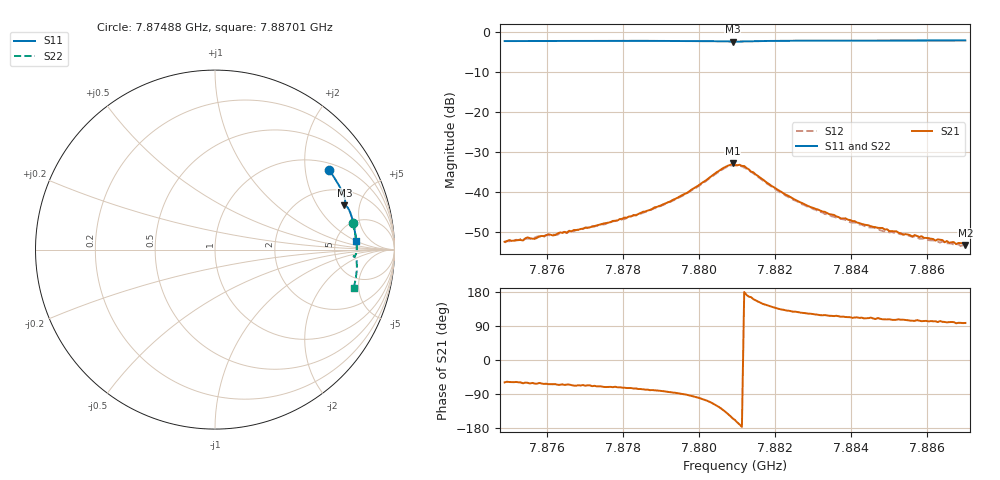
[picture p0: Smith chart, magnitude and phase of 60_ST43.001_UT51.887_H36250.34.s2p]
#  HZ  S  DB  R  50.00
! Rohde & Schwarz Vector Network Analyzer
! Rohde-Schwarz,ZNB20-2Port,1311601062101988,3.16
! Created: UTC 1/12/2023, 6:33:37 PM
! freq[Hz]  db:S11  ang:S11  db:S21  ang:S21  db:S12  ang:S12  db:S22  ang:S22
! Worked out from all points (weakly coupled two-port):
!   201 points, 7.87488 GHz to 7.88701 GHz, reference 50 ohm
!   highest |S21| = -32.88 dB at 7.88089 GHz (marker M1); lowest = -53.3 dB at 7.88701 GHz (marker M2)
!   lowest |S11| = -2.4 dB at 7.88089 GHz (marker M3), VSWR 7.40, Z = 152 + j178 ohm
!   |S11| at or under -10 dB: nowhere
!   |S22| runs from -2.2 to -1.9 dB; largest |S21 - S12| = 0.0019
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7.874882e9  -2.23 34.9  -52.48 -59.1  -52.69 -61.8  -2.14 10.9
7.875004e9  -2.23 34.5  -52.03 -58.1  -52.37 -62.0  -2.14 10.6
7.875368e9  -2.21 33.5  -52.15 -61.5  -51.95 -62.1  -2.12 9.7
7.875489e9  -2.22 33.2  -51.38 -60.2  -51.69 -63.8  -2.12 9.4
7.875671e9  -2.21 32.7  -51.74 -62.1  -51.44 -64.7  -2.12 8.9
7.876035e9  -2.21 31.7  -50.60 -63.8  -50.80 -66.4  -2.10 8.1
7.876156e9  -2.20 31.4  -50.90 -63.9  -50.67 -66.7  -2.10 7.8
7.876338e9  -2.20 30.9  -50.15 -65.5  -50.28 -67.8  -2.09 7.4
7.876945e9  -2.19 29.2  -49.20 -65.9  -49.27 -69.9  -2.08 6.0
7.87834e9  -2.18 25.4  -45.88 -75.0  -45.73 -79.2  -2.05 2.7
7.878946e9  -2.18 23.7  -43.56 -81.1  -43.68 -85.2  -2.05 1.3
7.879674e9  -2.19 21.6  -40.31 -91.6  -40.38 -95.3  -2.06 -0.6
7.880645e9  -2.32 19.0  -33.98 -132.6  -34.20 -135.9  -2.19 -2.8
7.880887e9  -2.36 18.9  -32.88 -154.0  -33.30 -157.5  -2.23 -2.8
7.880948e9  -2.36 18.9  -33.33 -158.4  -33.28 -163.0  -2.24 -2.8
7.88119e9  -2.32 18.7  -33.52 179.4  -33.93 174.9  -2.20 -2.8
7.882222e9  -2.16 16.1  -40.33 132.6  -40.48 129.2  -2.02 -4.9
7.88301e9  -2.13 13.9  -44.02 121.2  -44.31 118.0  -1.98 -6.8
7.883738e9  -2.11 11.9  -46.67 114.2  -46.74 111.6  -1.96 -8.5
7.883859e9  -2.11 11.6  -46.62 113.4  -46.99 110.4  -1.95 -8.7
7.885012e9  -2.09 8.5  -49.82 107.5  -50.14 104.3  -1.94 -11.3
7.887013e9  -2.07 3.3  -53.26 97.8  -53.58 96.1  -1.92 -15.6
